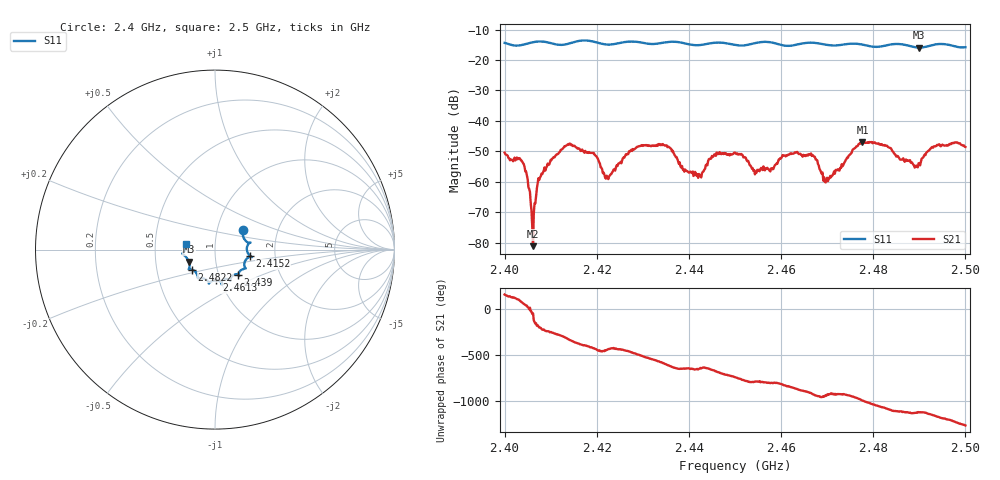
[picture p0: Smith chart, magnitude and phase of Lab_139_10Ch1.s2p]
# Hz S RI R 50
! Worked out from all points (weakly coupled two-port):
!   601 points, 2.4 GHz to 2.5 GHz, reference 50 ohm
!   highest |S21| = -46.95 dB at 2.4777 GHz (marker M1); lowest = -81.2 dB at 2.4062 GHz (marker M2)
!   lowest |S11| = -15.9 dB at 2.4898 GHz (marker M3), VSWR 1.38, Z = 37 - j5.06 ohm
!   |S11| at or under -10 dB: start of sweep to end of sweep
!   S12 and S22 are empty: the file has one direction only
!   S11 on the Smith chart (normalised r, x): 2.4 GHz: 1.33, +0.31; 2.4152 GHz: 1.48, -0.11; 2.439 GHz: 1.24, -0.36; 2.4613 GHz: 0.96, -0.34; 2.4822 GHz: 0.76, -0.17; 2.5 GHz: 0.72, +0.05
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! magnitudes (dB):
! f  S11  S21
! 2.4 GHz  -14.4  -50.5
! 2.4038 GHz  -15.0  -53.5
! 2.4062 GHz  -14.1  -81.2
! 2.4082 GHz  -13.9  -57.5
! 2.4152 GHz  -14.1  -48.2
! 2.4167 GHz  -13.6  -49.8
! 2.4223 GHz  -14.9  -58.5
! 2.4275 GHz  -13.9  -49.5
! 2.4333 GHz  -14.6  -48.1
! 2.439 GHz  -14.5  -56.7
! 2.4422 GHz  -15.1  -57.5
! 2.45 GHz  -15.0  -50.5
! 2.4545 GHz  -14.4  -56.7
! 2.4613 GHz  -15.3  -51.4
! 2.4667 GHz  -14.3  -51.5
! 2.47 GHz  -15.0  -58.7
! 2.4777 GHz  -14.9  -47.0
! 2.4822 GHz  -15.4  -48.0
! 2.4833 GHz  -15.0  -48.7
! 2.4898 GHz  -15.9  -54.0
! 2.4938 GHz  -14.8  -47.9
! 2.5 GHz  -15.8  -48.6
